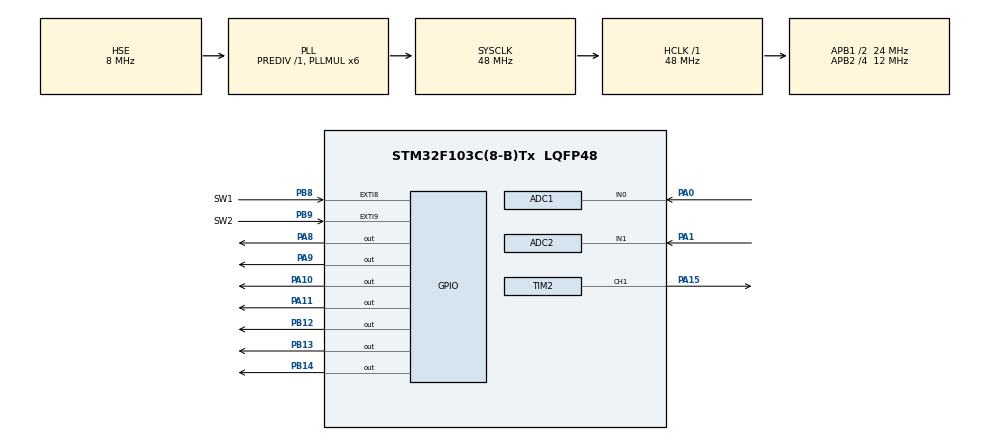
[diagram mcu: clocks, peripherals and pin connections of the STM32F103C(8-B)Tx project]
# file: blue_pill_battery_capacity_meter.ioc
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ADC1.Channel-4\#ChannelRegularConversion=ADC_CHANNEL_0
ADC1.ContinuousConvMode=DISABLE
ADC1.EnableRegularConversion=ENABLE
ADC1.ExternalTrigConv=ADC_SOFTWARE_START
ADC1.InjNumberOfConversion=0
ADC1.Mode=__NULL
ADC1.NbrOfConversion=1
ADC1.NbrOfConversionFlag=1
ADC1.Rank-4\#ChannelRegularConversion=1
ADC1.SamplingTime-4\#ChannelRegularConversion=ADC_SAMPLETIME_1CYCLE_5
ADC1.master=1
ADC2.Channel-14\#ChannelRegularConversion=ADC_CHANNEL_1
ADC2.NbrOfConversionFlag=1
ADC2.Rank-14\#ChannelRegularConversion=1
ADC2.SamplingTime-14\#ChannelRegularConversion=ADC_SAMPLETIME_1CYCLE_5
Mcu.Family=STM32F1
Mcu.Name=STM32F103C(8-B)Tx
Mcu.Package=LQFP48
Mcu.UserConstants=interrupt_time_ms_TIM3,1;interrupt_time_counter_TIM3,48000;pwm_period,480
NVIC.ADC1_2_IRQn=true\:0\:0\:false\:false\:true\:true
NVIC.EXTI9_5_IRQn=true\:0\:0\:false\:false\:true\:true
NVIC.PriorityGroup=NVIC_PRIORITYGROUP_4
NVIC.RTC_IRQn=true\:1\:0\:true\:false\:true\:true
NVIC.TIM3_IRQn=true\:0\:0\:true\:false\:true\:true
PA0-WKUP.Signal=ADCx_IN0
PA1.Signal=ADCx_IN1
PA10.Signal=GPIO_Output
PA11.Signal=GPIO_Output
PA13.Mode=Serial_Wire
PA13.Signal=SYS_JTMS-SWDIO
PA14.Mode=Serial_Wire
PA14.Signal=SYS_JTCK-SWCLK
PA15.Signal=S_TIM2_CH1_ETR
PA8.Signal=GPIO_Output
PA9.Signal=GPIO_Output
PB12.Signal=GPIO_Output
PB13.Signal=GPIO_Output
PB14.Signal=GPIO_Output
PB8.GPIO_Label=SW1
PB8.GPIO_ModeDefaultEXTI=GPIO_MODE_IT_FALLING
PB8.Signal=GPXTI8
PB9.GPIO_Label=SW2
PB9.GPIO_ModeDefaultEXTI=GPIO_MODE_IT_FALLING
PB9.Signal=GPXTI9
PC14-OSC32_IN.Mode=LSE-External-Oscillator
PC14-OSC32_IN.Signal=RCC_OSC32_IN
PC15-OSC32_OUT.Mode=LSE-External-Oscillator
PC15-OSC32_OUT.Signal=RCC_OSC32_OUT
PD0-OSC_IN.Mode=HSE-External-Oscillator
PD0-OSC_IN.Signal=RCC_OSC_IN
PD1-OSC_OUT.Mode=HSE-External-Oscillator
PD1-OSC_OUT.Signal=RCC_OSC_OUT
ProjectManager.HeapSize=0x200
ProjectManager.StackSize=0x400
ProjectManager.TargetToolchain=TrueSTUDIO
RCC.ADCPresc=RCC_ADCPCLK2_DIV6
RCC.AHBFreq_Value=48000000
RCC.APB1CLKDivider=RCC_HCLK_DIV2
RCC.APB1Freq_Value=24000000
RCC.APB1TimFreq_Value=48000000
RCC.APB2CLKDivider=RCC_HCLK_DIV4
RCC.APB2Freq_Value=12000000
RCC.APB2TimFreq_Value=24000000
RCC.HCLKFreq_Value=48000000
RCC.PLLMUL=RCC_PLL_MUL6
RCC.PLLSourceVirtual=RCC_PLLSOURCE_HSE
RCC.RTCClockSelection=RCC_RTCCLKSOURCE_LSE
RCC.SYSCLKFreq_VALUE=48000000
RCC.SYSCLKSource=RCC_SYSCLKSOURCE_PLLCLK
RCC.USBFreq_Value=48000000
RTC.Format=RTC_FORMAT_BIN
RTC.OutPut=RTC_OUTPUTSOURCE_SECOND
SH.ADCx_IN0.0=ADC1_IN0,IN0
SH.ADCx_IN1.0=ADC2_IN1,IN1
SH.S_TIM2_CH1_ETR.0=TIM2_CH1,PWM Generation1 CH1
TIM2.AutoReloadPreload=TIM_AUTORELOAD_PRELOAD_DISABLE
TIM2.Channel-PWM\ Generation1\ CH1=TIM_CHANNEL_1
TIM2.CounterMode=TIM_COUNTERMODE_DOWN
TIM2.Period=480
TIM2.Pulse-PWM\ Generation1\ CH1=480
TIM3.AutoReloadPreload=TIM_AUTORELOAD_PRELOAD_DISABLE
TIM3.ClockDivision=TIM_CLOCKDIVISION_DIV1
TIM3.CounterMode=TIM_COUNTERMODE_DOWN
TIM3.Period=48000-1
TIM3.Prescaler=0
TIM3.TIM_MasterOutputTrigger=TIM_TRGO_RESET
VP_RTC_VS_RTC_Activate.Mode=RTC_Enabled
VP_TIM2_VS_ClockSourceINT.Mode=Internal
VP_TIM3_VS_ClockSourceINT.Mode=Internal
board=custom

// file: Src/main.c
/* USER CODE BEGIN Header */
/**
  ******************************************************************************
  * @file           : main.c
  * @brief          : Main program body
  ******************************************************************************
  ** This notice applies to any and all portions of this file
  * that are not between comment pairs USER CODE BEGIN and
  * USER CODE END. Other portions of this file, whether
  * inserted by the user or by software development tools
  * are owned by their respective copyright owners.
  *
  * COPYRIGHT(c) 2018 STMicroelectronics
  *
  * Redistribution and use in source and binary forms, with or without modification,
  * are permitted provided that the following conditions are met:
  *   1. Redistributions of source code must retain the above copyright notice,
  *      this list of conditions and the following disclaimer.
  *   2. Redistributions in binary form must reproduce the above copyright notice,
  *      this list of conditions and the following disclaimer in the documentation
  *      and/or other materials provided with the distribution.
  *   3. Neither the name of STMicroelectronics nor the names of its contributors
  *      may be used to endorse or promote products derived from this software
  *      without specific prior written permission.
  *
  * THIS SOFTWARE IS PROVIDED BY THE COPYRIGHT HOLDERS AND CONTRIBUTORS "AS IS"
  * AND ANY EXPRESS OR IMPLIED WARRANTIES, INCLUDING, BUT NOT LIMITED TO, THE
  * IMPLIED WARRANTIES OF MERCHANTABILITY AND FITNESS FOR A PARTICULAR PURPOSE ARE
  * DISCLAIMED. IN NO EVENT SHALL THE COPYRIGHT HOLDER OR CONTRIBUTORS BE LIABLE
  * FOR ANY DIRECT, INDIRECT, INCIDENTAL, SPECIAL, EXEMPLARY, OR CONSEQUENTIAL
  * DAMAGES (INCLUDING, BUT NOT LIMITED TO, PROCUREMENT OF SUBSTITUTE GOODS OR
  * SERVICES; LOSS OF USE, DATA, OR PROFITS; OR BUSINESS INTERRUPTION) HOWEVER
  * CAUSED AND ON ANY THEORY OF LIABILITY, WHETHER IN CONTRACT, STRICT LIABILITY,
  * OR TORT (INCLUDING NEGLIGENCE OR OTHERWISE) ARISING IN ANY WAY OUT OF THE USE
  * OF THIS SOFTWARE, EVEN IF ADVISED OF THE POSSIBILITY OF SUCH DAMAGE.
  *
  ******************************************************************************
  */
/* USER CODE END Header */

#include "main.h"

/* USER CODE BEGIN PTD */
enum gpio_switch{SW1, SW2, NO_SW};
/* USER CODE END PTD */

ADC_HandleTypeDef hadc1;
ADC_HandleTypeDef hadc2;

RTC_HandleTypeDef hrtc;

TIM_HandleTypeDef htim2;
TIM_HandleTypeDef htim3;

/* USER CODE BEGIN PV */
enum gpio_switch SW_number = NO_SW;
volatile enum boolean should_actualize_lcd = FALSE;
volatile enum boolean should_actualize_adc =  FALSE;
volatile uint16_t battery_adc = 0;
volatile uint16_t shount_adc = 0;

uint16_t battery_voltage = 0;
uint16_t shount_current = 0;
uint16_t pwm_pulse = 0;
volatile double measured_energy = 0;
volatile int last_time = 0;

enum boolean measure_start = FALSE;
uint16_t discharging_current = 0;
uint16_t SW_counter[2] = {0,0};
uint16_t adjust_current_counter = 0;
/* USER CODE END PV */

void SystemClock_Config(void);
static void MX_GPIO_Init(void);
static void MX_TIM2_Init(void);
static void MX_TIM3_Init(void);
static void MX_ADC1_Init(void);
static void MX_ADC2_Init(void);
static void MX_RTC_Init(void);
/* USER CODE BEGIN PFP */
void switch_check(void);
void actualize_ADC(void);
void adjustShountCurrent(uint16_t current_to_set);
void cell_18650_measure(void);
void cell_18650_measure_const_current(void);
/* USER CODE END PFP */

int main(void)
{

  /* MCU Configuration--------------------------------------------------------*/

  /* Reset of all peripherals, Initializes the Flash interface and the Systick. */
  HAL_Init();

  /* Configure the system clock */
  SystemClock_Config();

  /* Initialize all configured peripherals */
  MX_GPIO_Init();
  MX_TIM2_Init();
  MX_TIM3_Init();
  MX_ADC1_Init();
  MX_ADC2_Init();
  MX_RTC_Init();
  /* USER CODE BEGIN 2 */
  HAL_TIM_Base_Start_IT(&htim3);
  HAL_ADCEx_Calibration_Start(&hadc1);
  HAL_ADCEx_Calibration_Start(&hadc2);
  HAL_TIM_PWM_Start(&htim2,TIM_CHANNEL_1);

  lcd_init();
  lcd_write(DISPLAY_HOME);
  /* USER CODE END 2 */

  /* Infinite loop */
  /* USER CODE BEGIN WHILE */
  HAL_RTC_Init(&hrtc);
  zeroTimer();

  while (1)
  {
	  if (should_actualize_lcd==TRUE)
	  {
		  should_actualize_lcd = FALSE;
		  actualize_LCD();

	  }
	  if (should_actualize_adc==TRUE)
	  {
		  should_actualize_adc= FALSE;
		  actualize_ADC();
		  adjustShountCurrent(discharging_current);
	  }
	  switch_check();
    /* USER CODE END WHILE */

  }
}

void SystemClock_Config(void)
{
  RCC_OscInitTypeDef RCC_OscInitStruct = {0};
  RCC_ClkInitTypeDef RCC_ClkInitStruct = {0};
  RCC_PeriphCLKInitTypeDef PeriphClkInit = {0};

  /**Initializes the CPU, AHB and APB busses clocks
  */
  RCC_OscInitStruct.OscillatorType = RCC_OSCILLATORTYPE_HSE|RCC_OSCILLATORTYPE_LSE;
  RCC_OscInitStruct.HSEState = RCC_HSE_ON;
  RCC_OscInitStruct.HSEPredivValue = RCC_HSE_PREDIV_DIV1;
  RCC_OscInitStruct.LSEState = RCC_LSE_ON;
  RCC_OscInitStruct.HSIState = RCC_HSI_ON;
  RCC_OscInitStruct.PLL.PLLState = RCC_PLL_ON;
  RCC_OscInitStruct.PLL.PLLSource = RCC_PLLSOURCE_HSE;
  RCC_OscInitStruct.PLL.PLLMUL = RCC_PLL_MUL6;
  if (HAL_RCC_OscConfig(&RCC_OscInitStruct) != HAL_OK)
  {
    Error_Handler();
  }
  /**Initializes the CPU, AHB and APB busses clocks
  */
  RCC_ClkInitStruct.ClockType = RCC_CLOCKTYPE_HCLK|RCC_CLOCKTYPE_SYSCLK
                              |RCC_CLOCKTYPE_PCLK1|RCC_CLOCKTYPE_PCLK2;
  RCC_ClkInitStruct.SYSCLKSource = RCC_SYSCLKSOURCE_PLLCLK;
  RCC_ClkInitStruct.AHBCLKDivider = RCC_SYSCLK_DIV1;
  RCC_ClkInitStruct.APB1CLKDivider = RCC_HCLK_DIV2;
  RCC_ClkInitStruct.APB2CLKDivider = RCC_HCLK_DIV4;

  if (HAL_RCC_ClockConfig(&RCC_ClkInitStruct, FLASH_LATENCY_1) != HAL_OK)
  {
    Error_Handler();
  }
  PeriphClkInit.PeriphClockSelection = RCC_PERIPHCLK_RTC|RCC_PERIPHCLK_ADC;
  PeriphClkInit.RTCClockSelection = RCC_RTCCLKSOURCE_LSE;
  PeriphClkInit.AdcClockSelection = RCC_ADCPCLK2_DIV6;
  if (HAL_RCCEx_PeriphCLKConfig(&PeriphClkInit) != HAL_OK)
  {
    Error_Handler();
  }
}

static void MX_ADC1_Init(void)
{

  ADC_ChannelConfTypeDef sConfig = {0};

  /**Common config
  */
  hadc1.Instance = ADC1;
  hadc1.Init.ScanConvMode = ADC_SCAN_DISABLE;
  hadc1.Init.ContinuousConvMode = DISABLE;
  hadc1.Init.DiscontinuousConvMode = DISABLE;
  hadc1.Init.ExternalTrigConv = ADC_SOFTWARE_START;
  hadc1.Init.DataAlign = ADC_DATAALIGN_RIGHT;
  hadc1.Init.NbrOfConversion = 1;
  if (HAL_ADC_Init(&hadc1) != HAL_OK)
  {
    Error_Handler();
  }
  /**Configure Regular Channel
  */
  sConfig.Channel = ADC_CHANNEL_0;
  sConfig.Rank = ADC_REGULAR_RANK_1;
  sConfig.SamplingTime = ADC_SAMPLETIME_1CYCLE_5;
  if (HAL_ADC_ConfigChannel(&hadc1, &sConfig) != HAL_OK)
  {
    Error_Handler();
  }

}

static void MX_ADC2_Init(void)
{

  ADC_ChannelConfTypeDef sConfig = {0};

  /**Common config
  */
  hadc2.Instance = ADC2;
  hadc2.Init.ScanConvMode = ADC_SCAN_DISABLE;
  hadc2.Init.ContinuousConvMode = DISABLE;
  hadc2.Init.DiscontinuousConvMode = DISABLE;
  hadc2.Init.ExternalTrigConv = ADC_SOFTWARE_START;
  hadc2.Init.DataAlign = ADC_DATAALIGN_RIGHT;
  hadc2.Init.NbrOfConversion = 1;
  if (HAL_ADC_Init(&hadc2) != HAL_OK)
  {
    Error_Handler();
  }
  /**Configure Regular Channel
  */
  sConfig.Channel = ADC_CHANNEL_1;
  sConfig.Rank = ADC_REGULAR_RANK_1;
  sConfig.SamplingTime = ADC_SAMPLETIME_1CYCLE_5;
  if (HAL_ADC_ConfigChannel(&hadc2, &sConfig) != HAL_OK)
  {
    Error_Handler();
  }

}

static void MX_RTC_Init(void)
{

  /**Initialize RTC Only
  */
  hrtc.Instance = RTC;
  hrtc.Init.AsynchPrediv = RTC_AUTO_1_SECOND;
  hrtc.Init.OutPut = RTC_OUTPUTSOURCE_SECOND;
  if (HAL_RTC_Init(&hrtc) != HAL_OK)
  {
    Error_Handler();
  }
  /* USER CODE BEGIN RTC_Init 2 */
   HAL_RTCEx_SetSecond_IT(&hrtc);
  /* USER CODE END RTC_Init 2 */

}

static void MX_TIM2_Init(void)
{

  TIM_ClockConfigTypeDef sClockSourceConfig = {0};
  TIM_MasterConfigTypeDef sMasterConfig = {0};
  TIM_OC_InitTypeDef sConfigOC = {0};

  htim2.Instance = TIM2;
  htim2.Init.Prescaler = 0;
  htim2.Init.CounterMode = TIM_COUNTERMODE_DOWN;
  htim2.Init.Period = 480;
  htim2.Init.ClockDivision = TIM_CLOCKDIVISION_DIV1;
  htim2.Init.AutoReloadPreload = TIM_AUTORELOAD_PRELOAD_DISABLE;
  if (HAL_TIM_Base_Init(&htim2) != HAL_OK)
  {
    Error_Handler();
  }
  sClockSourceConfig.ClockSource = TIM_CLOCKSOURCE_INTERNAL;
  if (HAL_TIM_ConfigClockSource(&htim2, &sClockSourceConfig) != HAL_OK)
  {
    Error_Handler();
  }
  if (HAL_TIM_PWM_Init(&htim2) != HAL_OK)
  {
    Error_Handler();
  }
  sMasterConfig.MasterOutputTrigger = TIM_TRGO_RESET;
  sMasterConfig.MasterSlaveMode = TIM_MASTERSLAVEMODE_DISABLE;
  if (HAL_TIMEx_MasterConfigSynchronization(&htim2, &sMasterConfig) != HAL_OK)
  {
    Error_Handler();
  }
  sConfigOC.OCMode = TIM_OCMODE_PWM1;
  sConfigOC.Pulse = 480;
  sConfigOC.OCPolarity = TIM_OCPOLARITY_HIGH;
  sConfigOC.OCFastMode = TIM_OCFAST_DISABLE;
  if (HAL_TIM_PWM_ConfigChannel(&htim2, &sConfigOC, TIM_CHANNEL_1) != HAL_OK)
  {
    Error_Handler();
  }
  HAL_TIM_MspPostInit(&htim2);

}

static void MX_TIM3_Init(void)
{

  TIM_ClockConfigTypeDef sClockSourceConfig = {0};
  TIM_MasterConfigTypeDef sMasterConfig = {0};

  htim3.Instance = TIM3;
  htim3.Init.Prescaler = 0;
  htim3.Init.CounterMode = TIM_COUNTERMODE_DOWN;
  htim3.Init.Period = 48000-1;
  htim3.Init.ClockDivision = TIM_CLOCKDIVISION_DIV1;
  htim3.Init.AutoReloadPreload = TIM_AUTORELOAD_PRELOAD_DISABLE;
  if (HAL_TIM_Base_Init(&htim3) != HAL_OK)
  {
    Error_Handler();
  }
  sClockSourceConfig.ClockSource = TIM_CLOCKSOURCE_INTERNAL;
  if (HAL_TIM_ConfigClockSource(&htim3, &sClockSourceConfig) != HAL_OK)
  {
    Error_Handler();
  }
  sMasterConfig.MasterOutputTrigger = TIM_TRGO_RESET;
  sMasterConfig.MasterSlaveMode = TIM_MASTERSLAVEMODE_DISABLE;
  if (HAL_TIMEx_MasterConfigSynchronization(&htim3, &sMasterConfig) != HAL_OK)
  {
    Error_Handler();
  }

}

static void MX_GPIO_Init(void)
{
  GPIO_InitTypeDef GPIO_InitStruct = {0};

  /* GPIO Ports Clock Enable */
  __HAL_RCC_GPIOC_CLK_ENABLE();
  __HAL_RCC_GPIOD_CLK_ENABLE();
  __HAL_RCC_GPIOA_CLK_ENABLE();
  __HAL_RCC_GPIOB_CLK_ENABLE();

  /*Configure GPIO pin Output Level */
  HAL_GPIO_WritePin(GPIOB, GPIO_PIN_12|GPIO_PIN_13|GPIO_PIN_14, GPIO_PIN_RESET);

  /*Configure GPIO pin Output Level */
  HAL_GPIO_WritePin(GPIOA, GPIO_PIN_8|GPIO_PIN_9|GPIO_PIN_10|GPIO_PIN_11, GPIO_PIN_RESET);

  /*Configure GPIO pins : PB12 PB13 PB14 */
  GPIO_InitStruct.Pin = GPIO_PIN_12|GPIO_PIN_13|GPIO_PIN_14;
  GPIO_InitStruct.Mode = GPIO_MODE_OUTPUT_PP;
  GPIO_InitStruct.Pull = GPIO_NOPULL;
  GPIO_InitStruct.Speed = GPIO_SPEED_FREQ_LOW;
  HAL_GPIO_Init(GPIOB, &GPIO_InitStruct);

  /*Configure GPIO pins : PA8 PA9 PA10 PA11 */
  GPIO_InitStruct.Pin = GPIO_PIN_8|GPIO_PIN_9|GPIO_PIN_10|GPIO_PIN_11;
  GPIO_InitStruct.Mode = GPIO_MODE_OUTPUT_PP;
  GPIO_InitStruct.Pull = GPIO_NOPULL;
  GPIO_InitStruct.Speed = GPIO_SPEED_FREQ_LOW;
  HAL_GPIO_Init(GPIOA, &GPIO_InitStruct);

  /*Configure GPIO pins : SW1_Pin SW2_Pin */
  GPIO_InitStruct.Pin = SW1_Pin|SW2_Pin;
  GPIO_InitStruct.Mode = GPIO_MODE_IT_FALLING;
  GPIO_InitStruct.Pull = GPIO_NOPULL;
  HAL_GPIO_Init(GPIOB, &GPIO_InitStruct);

  /* EXTI interrupt init*/
  HAL_NVIC_SetPriority(EXTI9_5_IRQn, 0, 0);
  HAL_NVIC_EnableIRQ(EXTI9_5_IRQn);

}

/* USER CODE BEGIN 4 */
void HAL_ADC_ConvCpltCallback(ADC_HandleTypeDef *hadc)
{
	//pass two values, because we don't know which one comes
	battery_adc = HAL_ADC_GetValue(&hadc1);
	shount_adc = HAL_ADC_GetValue(&hadc2);
	should_actualize_adc = TRUE;
}

void HAL_GPIO_EXTI_Callback(uint16_t GPIO_Pin)
{
 	if(GPIO_Pin == SW1_Pin)
 		SW_number = SW1;
 	if(GPIO_Pin == SW2_Pin)
 		SW_number = SW2;
}
void switch_check(void)
{
	 if (SW_number == SW1 && SW_counter[SW1] == 0 )//start - pause
	  {
		  SW_number = NO_SW;
		  SW_counter[SW1] = SWITCH_DEBOUNCE;
		  should_actualize_lcd = TRUE;
		  if (measure_start == TRUE)
		  {
			  measure_start = FALSE;
			  pauseTimer();
			  discharging_current = 0;
		  }
		  else
		  {
			  discharging_current = CELL_18650_TYPICAL_CURRENT;
			  measure_start = TRUE;
			  runTimer();
		  }
	  }
	  if (SW_number == SW2 && SW_counter[SW2] == 0 )//reset
	  {
		  SW_number = NO_SW;
		  SW_counter[SW2] = SWITCH_DEBOUNCE;
		  should_actualize_lcd = TRUE;
		  measure_start = FALSE;
		  zeroTimer();
		  pauseTimer();
		  discharging_current = 0;
		  measured_energy = 0;
	  }
}
void actualize_ADC(void)
{
	  battery_voltage = 2 *  battery_adc/4096.0 * 3300;
	  shount_current = 2 * shount_adc/4096.0 * 3300;
	  last_time += TIM3->CNT;
	  double delta_time = last_time/interrupt_time_counter_TIM3;

	  double measured_energy_delta = (battery_voltage/CELL_18650_VOLTAGE)*shount_current*(delta_time/1000.0);
	  measured_energy += measured_energy_delta/3600;

	  if (measure_start == TRUE)
	  {
		  //cell_18650_measure();
		  cell_18650_measure_const_current();
	  }
	  last_time = 0;
	  if(SW_counter[SW1] > 0) SW_counter[SW1]--;
	  if(SW_counter[SW2] > 0) SW_counter[SW2]--;
}
void adjustShountCurrent(uint16_t current_to_set)//current in mA
{
	if (adjust_current_counter == ADJUST_CURRENT_INTERVAL)
	{
		adjust_current_counter = 0;
		uint8_t shouldSetNew = TRUE;
		TIM_OC_InitTypeDef sConfigOC = {0};

		if (current_to_set == 0)
		{
			pwm_pulse = pwm_period;
		}
		else if (shount_current > current_to_set)//shount_current greater, so increase pwm because mosfet is N type
		{
			if (pwm_pulse != pwm_period)
				pwm_pulse++;
		}
		else if(shount_current < current_to_set)
		{
			if (pwm_pulse != 0)
				pwm_pulse--;
		}
		else
			shouldSetNew = FALSE;
		if (shouldSetNew == TRUE)
		{
			HAL_TIM_PWM_Stop(&htim2,TIM_CHANNEL_1);
			sConfigOC.OCMode = TIM_OCMODE_PWM1;
			sConfigOC.Pulse = pwm_pulse;
			sConfigOC.OCPolarity = TIM_OCPOLARITY_HIGH;
			sConfigOC.OCFastMode = TIM_OCFAST_DISABLE;
			if (HAL_TIM_PWM_ConfigChannel(&htim2, &sConfigOC, TIM_CHANNEL_1) != HAL_OK)
			{
				Error_Handler();
			}
			HAL_TIM_PWM_Start(&htim2,TIM_CHANNEL_1);
		}
	}
	else
	{
		adjust_current_counter++;
	}

}
void cell_18650_measure(void)
{
//	adjustShountCurrent(discharging_current);
	if(shount_current <= CELL_18650_MIN_CURRENT &&  battery_voltage <= CELL_18650_MIN_VOLTAGE) //measured - battery empty
	{
		measure_start = FALSE;
		discharging_current = 0;
		pauseTimer();
	}
	else if(battery_voltage <= CELL_18650_MIN_VOLTAGE)
	{
		discharging_current--;
	}
}
void cell_18650_measure_const_current(void)
{
	if(battery_voltage <= CELL_18650_MIN_VOLTAGE) //measured - battery empty
	{
		measure_start = FALSE;
		discharging_current = 0;
		pauseTimer();
	}
}
/* USER CODE END 4 */

void Error_Handler(void)
{
}

/************************ (C) COPYRIGHT STMicroelectronics *****END OF FILE****/
